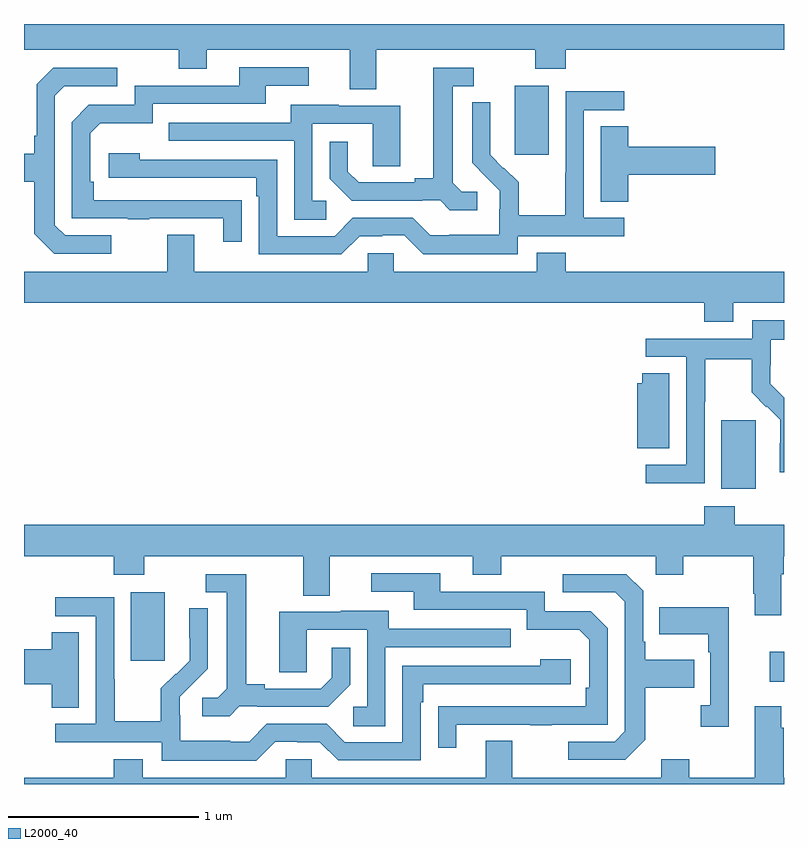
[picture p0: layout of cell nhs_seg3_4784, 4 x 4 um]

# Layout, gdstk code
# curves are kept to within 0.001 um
import gdstk
lib = gdstk.Library(unit=1e-6, precision=1e-09)
def R(c, l, rs):  # rectangles x0, y0, x1, y1
    for r in rs: c.add(gdstk.rectangle(r[:2], r[2:], *l))
def P(c, l, *ps):  # polygons
    for p in ps: c.add(gdstk.Polygon(p, *l))
L2000_40 = (2000, 40)

nhs_seg3_4784 = lib.new_cell('nhs_seg3_4784')
R(nhs_seg3_4784, L2000_40, [(372.924,682.937,373,683.095), (369.563,683.049,369.742,683.41), (372.671,683.954,372.85,684.315), (371.582,685.713,371.761,686.074)])
P(nhs_seg3_4784, L2000_40, [(370.855,686.264),(371.692,686.264),(371.692,686.165),(371.852,686.165),(371.852,686.264),(373,686.264),(373,686.4),(369,686.4),(369,686.264),(369.814,686.264),(369.814,686.165),(369.961,686.165),(369.961,686.264),(370.715,686.264),(370.715,686.056),(370.855,686.056)],
  [(370.145,685.472),(369.368,685.473),(369.368,685.57),(369.348,685.57),(369.348,685.824),(369.401,685.877),(369.678,685.877),(369.678,685.98),(370.273,685.98),(370.273,686.076),(370.498,686.076),(370.498,686.172),(370.133,686.172),(370.133,686.076),(369.582,686.076),(369.582,685.974),(369.342,685.974),(369.252,685.884),(369.252,685.377),(369.547,685.377),(369.547,685.372),(369.659,685.372),(369.659,685.377),(370.049,685.377),(370.049,685.254),(370.145,685.254)],
  [(369.46,685.287),(369.216,685.287),(369.162,685.341),(369.162,686.022),(369.213,686.073),(369.49,686.073),(369.49,686.169),(369.153,686.169),(369.066,686.082),(369.066,685.813),(369.054,685.813),(369.054,685.717),(369,685.717),(369,685.57),(369.054,685.57),(369.054,685.297),(369.159,685.191),(369.46,685.191)],
  [(371.386,685.518),(371.304,685.518),(371.257,685.565),(371.257,686.073),(371.368,686.073),(371.368,686.169),(371.153,686.169),(371.153,685.589),(371.057,685.589),(371.057,685.566),(370.762,685.566),(370.705,685.623),(370.705,685.78),(370.608,685.78),(370.608,685.586),(370.724,685.47),(371.096,685.47),(371.096,685.473),(371.19,685.473),(371.242,685.421),(371.386,685.421)],
  [(371.598,685.284),(372.16,685.284),(372.16,685.38),(371.946,685.38),(371.946,685.947),(372.16,685.947),(372.16,686.046),(371.85,686.046),(371.85,685.616),(371.848,685.616),(371.848,685.393),(371.603,685.393),(371.603,685.567),(371.526,685.644),(371.523,685.641),(371.453,685.712),(371.454,685.988),(371.358,685.988),(371.358,685.67),(371.504,685.522),(371.504,685.425),(371.502,685.425),(371.502,685.291),(371.239,685.291),(371.239,685.287),(371.139,685.287),(371.046,685.38),(370.731,685.38),(370.635,685.284),(370.332,685.284),(370.332,685.686),(369.608,685.686),(369.608,685.72),(369.447,685.72),(369.447,685.59),(370.223,685.59),(370.223,685.493),(370.236,685.493),(370.236,685.188),(370.671,685.188),(370.767,685.284),(370.886,685.284),(370.886,685.287),(371.001,685.287),(371.101,685.187),(371.598,685.187)],
  [(370.591,685.47),(370.518,685.47),(370.518,685.875),(370.836,685.875),(370.836,685.651),(370.981,685.651),(370.981,685.971),(370.657,685.971),(370.657,685.975),(370.403,685.975),(370.403,685.881),(369.763,685.881),(369.763,685.785),(370.422,685.785),(370.422,685.369),(370.591,685.369)],
  [(372.179,685.607),(372.637,685.607),(372.637,685.754),(372.179,685.754),(372.179,685.862),(372.035,685.862),(372.035,685.465),(372.179,685.465)],
  [(372.733,684.932),(373,684.932),(373,685.096),(371.852,685.096),(371.852,685.195),(371.699,685.195),(371.699,685.096),(370.947,685.096),(370.947,685.194),(370.809,685.194),(370.809,685.096),(369.895,685.096),(369.895,685.291),(369.755,685.291),(369.755,685.096),(369,685.096),(369,684.932),(372.581,684.932),(372.581,684.833),(372.733,684.833)],
  [(372.582,684.412),(372.585,684.412),(372.585,684.636),(372.829,684.636),(372.829,684.461),(372.906,684.384),(372.909,684.387),(372.98,684.317),(372.98,684.194),(372.978,684.194),(372.978,684.04),(373,684.04),(373,684.434),(372.928,684.506),(372.928,684.603),(372.93,684.603),(372.93,684.737),(373,684.737),(373,684.841),(372.834,684.841),(372.834,684.744),(372.273,684.744),(372.273,684.648),(372.486,684.648),(372.486,684.081),(372.273,684.081),(372.273,683.983),(372.582,683.983)],
  [(372.397,684.563),(372.254,684.563),(372.254,684.51),(372.227,684.51),(372.227,684.166),(372.397,684.166)],
  [(372.985,683.504),(372.998,683.504),(372.998,683.6),(373,683.6),(373,683.764),(372.741,683.764),(372.741,683.863),(372.581,683.863),(372.581,683.764),(369,683.764),(369,683.6),(369.473,683.6),(369.473,683.501),(369.633,683.501),(369.633,683.6),(370.469,683.6),(370.469,683.392),(370.609,683.392),(370.609,683.6),(371.363,683.6),(371.363,683.501),(371.511,683.501),(371.511,683.6),(372.324,683.6),(372.324,683.501),(372.471,683.501),(372.471,683.6),(372.838,683.6),(372.838,683.401),(372.845,683.401),(372.845,683.289),(372.985,683.289)],
  [(371.275,682.713),(371.665,682.713),(371.665,682.708),(371.777,682.708),(371.777,682.713),(372.072,682.713),(372.072,683.22),(371.982,683.31),(371.742,683.31),(371.742,683.412),(371.191,683.412),(371.191,683.508),(370.827,683.508),(370.827,683.412),(371.051,683.412),(371.051,683.316),(371.646,683.316),(371.646,683.213),(371.923,683.213),(371.976,683.16),(371.976,682.906),(371.956,682.906),(371.956,682.809),(371.179,682.808),(371.179,682.59),(371.275,682.59)],
  [(370.134,682.809),(370.228,682.809),(370.228,682.806),(370.6,682.806),(370.716,682.922),(370.716,683.116),(370.619,683.116),(370.619,682.959),(370.562,682.902),(370.267,682.902),(370.267,682.925),(370.171,682.925),(370.171,683.505),(369.957,683.505),(369.957,683.409),(370.067,683.409),(370.067,682.901),(370.02,682.854),(369.939,682.854),(369.939,682.757),(370.082,682.757)],
  [(372.271,682.633),(372.271,682.906),(372.527,682.906),(372.527,683.053),(372.271,683.053),(372.271,683.149),(372.258,683.149),(372.258,683.418),(372.171,683.505),(371.835,683.505),(371.835,683.409),(372.111,683.409),(372.162,683.358),(372.162,682.677),(372.108,682.623),(371.865,682.623),(371.865,682.527),(372.165,682.527)],
  [(370.323,682.623),(370.439,682.623),(370.439,682.62),(370.557,682.62),(370.653,682.524),(371.088,682.524),(371.088,682.829),(371.101,682.829),(371.101,682.926),(371.878,682.926),(371.878,683.056),(371.717,683.056),(371.717,683.022),(370.992,683.022),(370.992,682.62),(370.689,682.62),(370.593,682.716),(370.278,682.716),(370.185,682.623),(370.085,682.623),(370.085,682.627),(369.822,682.627),(369.822,682.761),(369.82,682.761),(369.82,682.858),(369.966,683.006),(369.966,683.324),(369.87,683.324),(369.87,683.17),(369.872,683.17),(369.872,683.048),(369.801,682.977),(369.798,682.98),(369.721,682.903),(369.721,682.729),(369.477,682.729),(369.477,682.952),(369.474,682.952),(369.474,683.382),(369.165,683.382),(369.165,683.283),(369.378,683.283),(369.378,682.716),(369.165,682.716),(369.165,682.62),(369.726,682.62),(369.726,682.523),(370.223,682.523)],
  [(372.71,683.329),(372.343,683.329),(372.343,683.189),(372.6,683.189),(372.6,683.093),(372.612,683.093),(372.612,682.814),(372.561,682.814),(372.561,682.701),(372.71,682.701)],
  [(370.902,683.121),(371.561,683.121),(371.561,683.217),(370.921,683.217),(370.921,683.311),(370.667,683.311),(370.667,683.307),(370.343,683.307),(370.343,682.987),(370.488,682.987),(370.488,683.211),(370.806,683.211),(370.806,682.806),(370.734,682.806),(370.734,682.705),(370.902,682.705)],
  [(369.289,683.198),(369.146,683.198),(369.146,683.108),(369,683.108),(369,682.925),(369.146,682.925),(369.146,682.801),(369.289,682.801)],
  [(373,682.432),(372.998,682.432),(372.998,682.697),(372.985,682.697),(372.985,682.81),(372.845,682.81),(372.845,682.432),(372.501,682.432),(372.501,682.531),(372.353,682.531),(372.353,682.432),(371.569,682.432),(371.569,682.627),(371.429,682.627),(371.429,682.432),(370.515,682.432),(370.515,682.53),(370.377,682.53),(370.377,682.432),(369.625,682.432),(369.625,682.531),(369.473,682.531),(369.473,682.432),(369,682.432),(369,682.4),(373,682.4)])

lib.write_gds('nhs_seg3_4784.gds')
